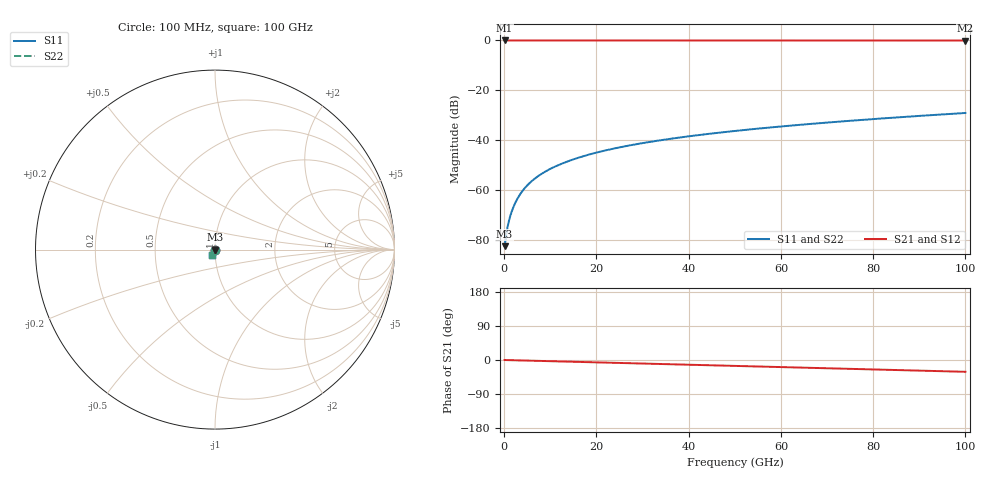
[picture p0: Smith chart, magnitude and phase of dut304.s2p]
! Touchstone file exported from HFSS 2026.1.0
!  File:  C:/ffzhzh/LocalFiles/Ansys_Project_Files/temp_train_TSV_304_1783509226_31944.aedt
!  Generated:  07:14:56 PM Jul  8, 2026
!  Design:  TSV
!  Project:  temp_train_TSV_304_1783509226_31944
! Variables:
!  h_bsmrdl = 2um
!  h_ox = 20um
!  h_rdl = 5um
!  h_sub = 59.16um
!  h_tmrdl = 5um
!  h_tsv = 59.16um
!  h_via = 3um
!  l_bsmrdl = 300um
!  l_sub = 425.04um
!  l_tmrdl = 200um
!  m_sub = 200um
!  pitch = 47.24um
!  r_tsv = 12.52um
!  s_tmrdl = 10um
!  w_bsmrdl = 18um
!  w_sub = 500um
!  w_tmrdl = 12um
!  x_tsv_center1 = 206um
!  x_tsv_center2 = 524um
!  x_tsv_center3 = 736um
!  x_tsv_center4 = 1054um
!  x_tsv_center5 = 1266um
!  x_tsv_center6 = 1584um
# GHz S MA R 50.000000
! Terminal data exported
! Port[1] = TSV1_1_T1
! Port[2] = TSV1_1_T2
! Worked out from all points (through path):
!   1000 points, 100 MHz to 100 GHz, reference 50 ohm
!   highest |S21| = 0.00 dB at 100 MHz (marker M1); lowest = 0.0 dB at 100 GHz (marker M2)
!   group delay of S21, straight-line fit = 864 fs
!   lowest |S11| = -82.5 dB at 100 MHz (marker M3), VSWR 1.00, Z = 50 + j0.000445 ohm
!   |S11| at or under -10 dB: start of sweep to end of sweep
!   |S22| runs from -82.5 to -29.1 dB; largest |S21 - S12| = 2e-15
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0.1  7.489e-05 3.4  0.9999 -0.0  0.9999 -0.0  7.489e-05 3.4
! Gamma 0 0 0 0
! Port Impedance 50 0 50 0
0.5  0.000136 -9.8  0.9999 -0.2  0.9999 -0.2  0.000136 -9.8
1.1  0.0002538 -36.5  0.9998 -0.4  0.9998 -0.4  0.0002538 -36.5
1.4  0.0003176 -44.3  0.9998 -0.4  0.9998 -0.4  0.0003176 -44.3
1.8  0.0004074 -51.3  0.9997 -0.6  0.9997 -0.6  0.0004074 -51.3
2.2  0.0005019 -56.2  0.9997 -0.7  0.9997 -0.7  0.0005019 -56.2
2.8  0.000651 -61.2  0.9997 -0.9  0.9997 -0.9  0.0006509 -61.2
3.4  0.0008064 -64.8  0.9996 -1.1  0.9996 -1.1  0.0008064 -64.8
4.2  0.00102 -68.4  0.9996 -1.3  0.9996 -1.3  0.00102 -68.4
5  0.001239 -71.1  0.9996 -1.6  0.9996 -1.6  0.001239 -71.1
7.1  0.001825 -75.8  0.9995 -2.2  0.9995 -2.2  0.001825 -75.9
9.7  0.00257 -79.4  0.9994 -3.0  0.9994 -3.0  0.00257 -79.4
12.9  0.003498 -82.2  0.9993 -4.0  0.9993 -4.0  0.003498 -82.3
16.8  0.00466 -85.1  0.9992 -5.2  0.9992 -5.2  0.00466 -85.1
20.2  0.005693 -87.2  0.9991 -6.3  0.9991 -6.3  0.005693 -87.3
24.1  0.006892 -89.4  0.999 -7.5  0.999 -7.5  0.006892 -89.4
33.4  0.009814 -93.8  0.9988 -10.4  0.9988 -10.4  0.009813 -93.9
41.1  0.01231 -97.0  0.9986 -12.8  0.9986 -12.8  0.01231 -97.0
50.1  0.01534 -100.4  0.9985 -15.5  0.9985 -15.5  0.01534 -100.4
66.7  0.0213 -106.2  0.9981 -20.7  0.9981 -20.7  0.0213 -106.3
83.4  0.02789 -112.1  0.9977 -25.9  0.9977 -25.9  0.02789 -112.2
100  0.03512 -118.3  0.9972 -31.1  0.9972 -31.1  0.03512 -118.4
